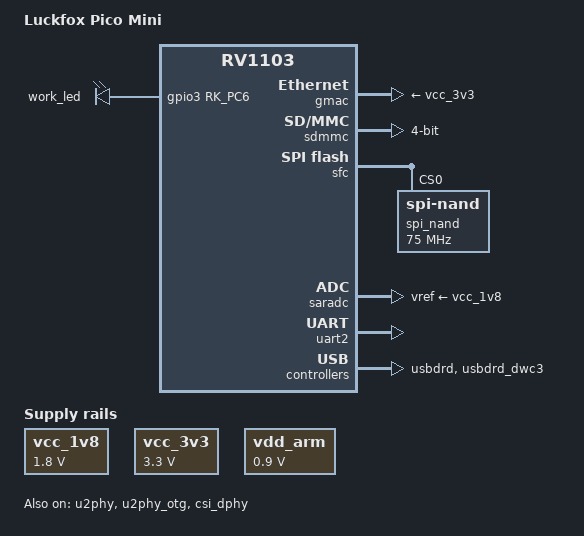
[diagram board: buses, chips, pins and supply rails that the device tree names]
// SPDX-License-Identifier: (GPL-2.0+ OR MIT)
/*
 * Copyright (c) 2023 Luckfox Electronics Co., Ltd.
 */

/dts-v1/;

#include "rv1103g.dtsi"

/ {
	model = "Luckfox Pico Mini";
	compatible = "rockchip,rv1103g-luckfox-pico-mini", "rockchip,rv1103";	

	chosen {
		stdout-path = "serial2:115200n8";
	};

	aliases {
		ethernet0 = &gmac;
		mmc0 = &emmc;
		mmc1 = &sdmmc;
		mmc2 = &sdio;
	};

	vcc_1v8: vcc-1v8 {
		compatible = "regulator-fixed";
		regulator-name = "vcc_1v8";
		regulator-always-on;
		regulator-boot-on;
		regulator-min-microvolt = <1800000>;
		regulator-max-microvolt = <1800000>;
	};

	vcc_3v3: vcc-3v3 {
		compatible = "regulator-fixed";
		regulator-name = "vcc_3v3";
		regulator-always-on;
		regulator-boot-on;
		regulator-min-microvolt = <3300000>;
		regulator-max-microvolt = <3300000>;
	};

	vdd_arm: vdd-arm {
		compatible = "regulator-fixed";
		regulator-name = "vdd_arm";
		regulator-min-microvolt = <900000>;
		regulator-max-microvolt = <900000>;
		regulator-always-on;
		regulator-boot-on;
	};

	leds: leds {
		compatible = "gpio-leds";
		work_led: work{
			gpios = <&gpio3 RK_PC6 GPIO_ACTIVE_HIGH>;
			linux,default-trigger = "activity";
			default-state = "on";
		};
	};

	restart-poweroff {
		compatible = "restart-poweroff";
	};	
};

&cpu0 {
	cpu-supply = <&vdd_arm>;
};

&gmac {
	phy-supply = <&vcc_3v3>;
	tx_delay = <0x30>;
	rx_delay = <0x10>;
	status = "okay";
};

&sdmmc {
	max-frequency = <50000000>;
	no-sdio;
	no-mmc;
	bus-width = <4>;
	cap-mmc-highspeed;
	cap-sd-highspeed;
	disable-wp;
	pinctrl-names = "default";
	pinctrl-0 = <&sdmmc0_clk &sdmmc0_cmd &sdmmc0_det &sdmmc0_bus4>;
	status = "okay";
};

&sfc {
	status = "okay";

	spi_nand: flash@0 {
		compatible = "spi-nand";
		reg = <0>;
		spi-max-frequency = <75000000>;
		spi-rx-bus-width = <4>;
		spi-tx-bus-width = <1>;
	};
};

&saradc {
	status = "okay";
	vref-supply = <&vcc_1v8>;
};

&i2c3 {
	pinctrl-0 = <&i2c3m1_xfer>;
};

&i2c4 {
	pinctrl-0 = <&i2c4m2_xfer>;
};

&uart2 {
	status = "okay";
};

&uart3 {
	pinctrl-0 = <&uart3m1_xfer>;
};

&uart4 {
	pinctrl-0 = <&uart4m1_xfer>;
};

&u2phy {
	status = "okay";
};

&u2phy_otg {
	status = "okay";
};

&csi_dphy {
	status = "okay";
};

&usbdrd {
	status = "okay";
};

&usbdrd_dwc3 {
	extcon = <&u2phy>;
	status = "okay";
};
